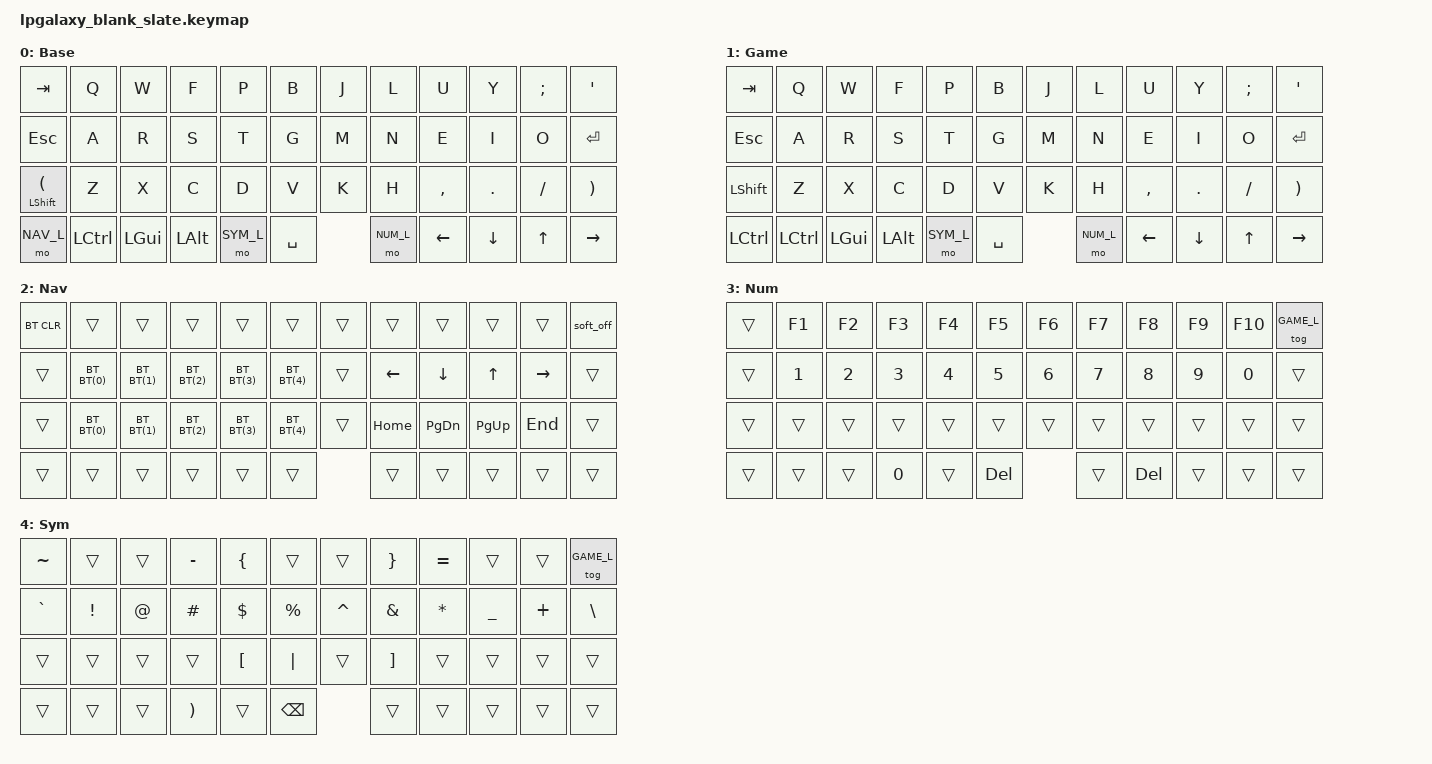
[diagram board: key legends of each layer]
/*
 * Copyright (c) 2022 Pete Johanson
 *
 * SPDX-License-Identifier: MIT
 */

#include <behaviors.dtsi>
#include <dt-bindings/zmk/keys.h>
#include <dt-bindings/zmk/bt.h>
#include <dt-bindings/zmk/outputs.h>

#define TBLE_MIT     1

#define GAME_L 1
#define NAV_L 2
#define NUM_L 3
#define SYM_L 4


// Using layer taps on thumbs, having quick tap as well helps w/ repeating space/backspace
&lt { quick_tap_ms = <200>; };

#define BT(n) BT_SEL n

/ {
    chosen {
       zmk,physical-layout = &layout_ortho_4x12_1x2u;
    };

    macros {
      function_macro: function_macro {
        compatible = "zmk,behavior-macro";
        #binding-cells = <0>;
        wait-ms = <30>;
        tap-ms = <40>;
        bindings = <&kp LPAR &kp RPAR>;
      };
    };

    combos {
        compatible = "zmk,combos";
        combo_function {
            timeout-ms = <100>;
            key-positions = <24 35>;
            bindings = <&function_macro >;
        };
    };
 

    keymap {
        compatible = "zmk,keymap";

        base_layer {
            label = "Base";
            bindings = <

 &kp TAB		    &kp Q		&kp W		&kp F		&kp P		&kp B	&kp J		&kp L		&kp U		&kp Y		&kp SEMI	&kp QUOT
 &kp ESC		    &kp A		&kp R		&kp S		&kp T		&kp G	&kp M		&kp N		&kp E		&kp I		&kp O		&kp RET
 &mt LSHIFT LPAR    &kp Z		&kp X		&kp C		&kp D		&kp V	&kp K		&kp H		&kp COMMA	&kp DOT		&kp SLASH	&kp RPAR
 &mo NAV_L		    &kp LCTRL	&kp LGUI	&kp LALT	&mo SYM_L	  &kp SPACE		&mo NUM_L	&kp LEFT	&kp DOWN	&kp UP		&kp RIGHT

            >;
        };

        game_layer {
            label = "Game";
            bindings = <

 &kp TAB		    &kp Q		&kp W		&kp F		&kp P		&kp B	&kp J		&kp L		&kp U		&kp Y		&kp SEMI	&kp QUOT
 &kp ESC		    &kp A		&kp R		&kp S		&kp T		&kp G	&kp M		&kp N		&kp E		&kp I		&kp O		&kp RET
 &kp LSHIFT    &kp Z		&kp X		&kp C		&kp D		&kp V	&kp K		&kp H		&kp COMMA	&kp DOT		&kp SLASH	&kp RPAR
 &kp LCTRL		    &kp LCTRL	&kp LGUI	&kp LALT	&mo SYM_L	  &kp SPACE		&mo NUM_L	&kp LEFT	&kp DOWN	&kp UP		&kp RIGHT

            >;
        };

        nav_layer {
            label = "Nav";
            bindings = <

&bt BT_CLR &trans     &trans     &trans      &trans          &trans       &trans     &trans         &trans      &trans     &trans     &soft_off
&trans     &bt BT(0)     &bt BT(1)     &bt BT(2)      &bt BT(3)          &bt BT(4)       &trans     &kp LEFT       &kp DOWN    &kp UP     &kp RIGHT  &trans
&trans     &bt BT(0)  &bt BT(1)  &bt BT(2)   &bt BT(3)       &bt BT(4)    &trans     &kp HOME       &kp PG_DN   &kp PG_UP  &kp END    &trans
&trans  &trans        &trans     &trans      &trans                &trans             &trans      &trans   &trans &trans &trans

            >;
        };

        

        num_layer {
            label = "Num";
            bindings = <

&trans     &kp F1   &kp F2 &kp F3 &kp F4    &kp F5    &kp F6    &kp F7     &kp F8      &kp F9       &kp F10     &tog GAME_L
&trans     &kp N1     &kp N2    &kp N3    &kp N4       &kp N5      &kp N6        &kp N7     &kp N8      &kp N9       &kp N0        &trans
&trans     &trans  &trans &trans &trans    &trans    &trans        &trans     &trans      &trans       &trans     &trans
&trans  &trans       &trans     &kp N0      &trans           &kp DEL            &trans        &kp DEL      &trans &trans &trans

            >;
        };

        sym_layer {
            label = "Sym";
            bindings = <

&kp TILDE     &trans    &trans		&kp MINUS    &kp LEFT_BRACE     &trans     &trans     &kp RIGHT_BRACE    &kp EQUAL       &trans       &trans     &tog GAME_L
&kp GRAVE        &kp EXCL  &kp AT		&kp HASH   &kp DLLR    &kp PRCNT     &kp CARET     &kp AMPS    &kp STAR       &kp UNDERSCORE       &kp PLUS     &kp BACKSLASH
&trans        &trans &trans   &trans       &kp LEFT_BRACKET     &kp PIPE     &trans     &kp RIGHT_BRACKET    &trans       &trans       &trans     &trans
&trans        &trans    &trans     &kp RPAR        &trans                &kp BACKSPACE             &trans      &trans   &trans &trans &trans

            >;
        };

        


    };
};

